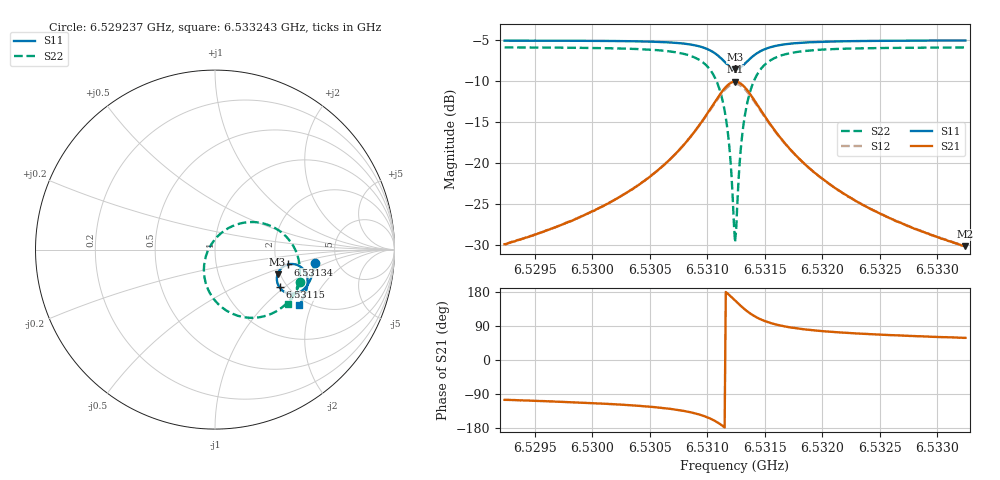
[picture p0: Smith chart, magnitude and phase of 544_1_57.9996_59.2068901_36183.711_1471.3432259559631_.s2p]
#  HZ  S  RI  R  50.00
! Rohde & Schwarz Vector Network Analyzer
! Rohde-Schwarz,ZNB20-2Port,1311601062101988,3.16
! Created: UTC 3/21/2024, 1:14:43 AM
! freq[Hz]  re:S11  im:S11  re:S21  im:S21  re:S12  im:S12  re:S22  im:S22
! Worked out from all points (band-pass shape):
!   401 points, 6.529237 GHz to 6.533243 GHz, reference 50 ohm
!   highest |S21| = -10.03 dB at 6.53124 GHz (marker M1); lowest = -30.1 dB at 6.533243 GHz (marker M2)
!   |S21| within 3 dB of the highest: 6.531041 GHz to 6.531441 GHz (399.7 kHz wide, 0.00612 % of centre)
!   lowest |S11| = -8.5 dB at 6.53124 GHz (marker M3), VSWR 2.20, Z = 96.9 - j31.1 ohm
!   |S11| at or under -10 dB: nowhere
!   |S22| runs from -29.7 to -5.8 dB; largest |S21 - S12| = 0.013
!   S11 on the Smith chart (normalised r, x): 6.529237 GHz: 3.37, -0.75; 6.53115 GHz: 1.82, -0.93; 6.53134 GHz: 2.31, -0.46; 6.533243 GHz: 1.82, -1.64
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6.5292374e9  0.5557 -0.0759  -0.00836 -0.0309  -0.00883 -0.0307  0.4763 -0.1823
6.5299083e9  0.5438 -0.1318  -0.0182 -0.0438  -0.0193 -0.0434  0.4442 -0.2442
6.5305792e9  0.5139 -0.199  -0.0534 -0.0746  -0.0554 -0.0732  0.3598 -0.3318
6.5308095e9  0.4857 -0.2282  -0.0944 -0.0937  -0.0972 -0.0905  0.2775 -0.3704
6.5309797e9  0.4407 -0.2463  -0.1643 -0.099  -0.1664 -0.0922  0.1492 -0.3742
6.5310798e9  0.3948 -0.2397  -0.235 -0.0707  -0.2337 -0.061  0.0308 -0.3153
6.5311499e9  0.3595 -0.2105  -0.2866 -0.00994  -0.2801 0.000109  -0.0458 -0.2044
6.53119e9  0.3466 -0.1814  -0.3021 0.0448  -0.2924 0.0527  -0.0621 -0.1116
6.53122e9  0.3449 -0.1555  -0.2998 0.0912  -0.2888 0.0965  -0.0505 -0.0359
6.53123e9  0.3462 -0.1468  -0.296 0.1069  -0.2846 0.111  -0.0417 -0.0112
6.53124e9  0.3484 -0.1381  -0.2908 0.122  -0.2792 0.1251  -0.0303 0.0125
6.53125e9  0.3516 -0.1297  -0.2839 0.1365  -0.2724 0.1386  -0.0166 0.0352
6.5312601e9  0.3557 -0.1217  -0.2756 0.1502  -0.2644 0.1514  -0.00117 0.0563
6.5312801e9  0.3659 -0.1076  -0.2557 0.1747  -0.2451 0.174  0.0356 0.0928
6.5313001e9  0.3786 -0.0963  -0.2322 0.1943  -0.2228 0.1921  0.0769 0.121
6.5313402e9  0.4067 -0.0828  -0.1816 0.2172  -0.1746 0.2135  0.1642 0.1505
6.5314102e9  0.4512 -0.0834  -0.1038 0.2177  -0.1004 0.2143  0.2939 0.1381
6.5315104e9  0.4897 -0.1068  -0.0378 0.1845  -0.0362 0.1826  0.4009 0.0679
6.5316606e9  0.5113 -0.1439  0.00153 0.1359  0.00264 0.135  0.4587 -0.03
6.5319109e9  0.5159 -0.188  0.0177 0.0884  0.0187 0.0879  0.4723 -0.1292
6.5325818e9  0.4969 -0.2584  0.0189 0.0421  0.0196 0.042  0.443 -0.2454
6.5332426e9  0.4706 -0.308  0.0163 0.0265  0.0168 0.0262  0.4085 -0.3046
